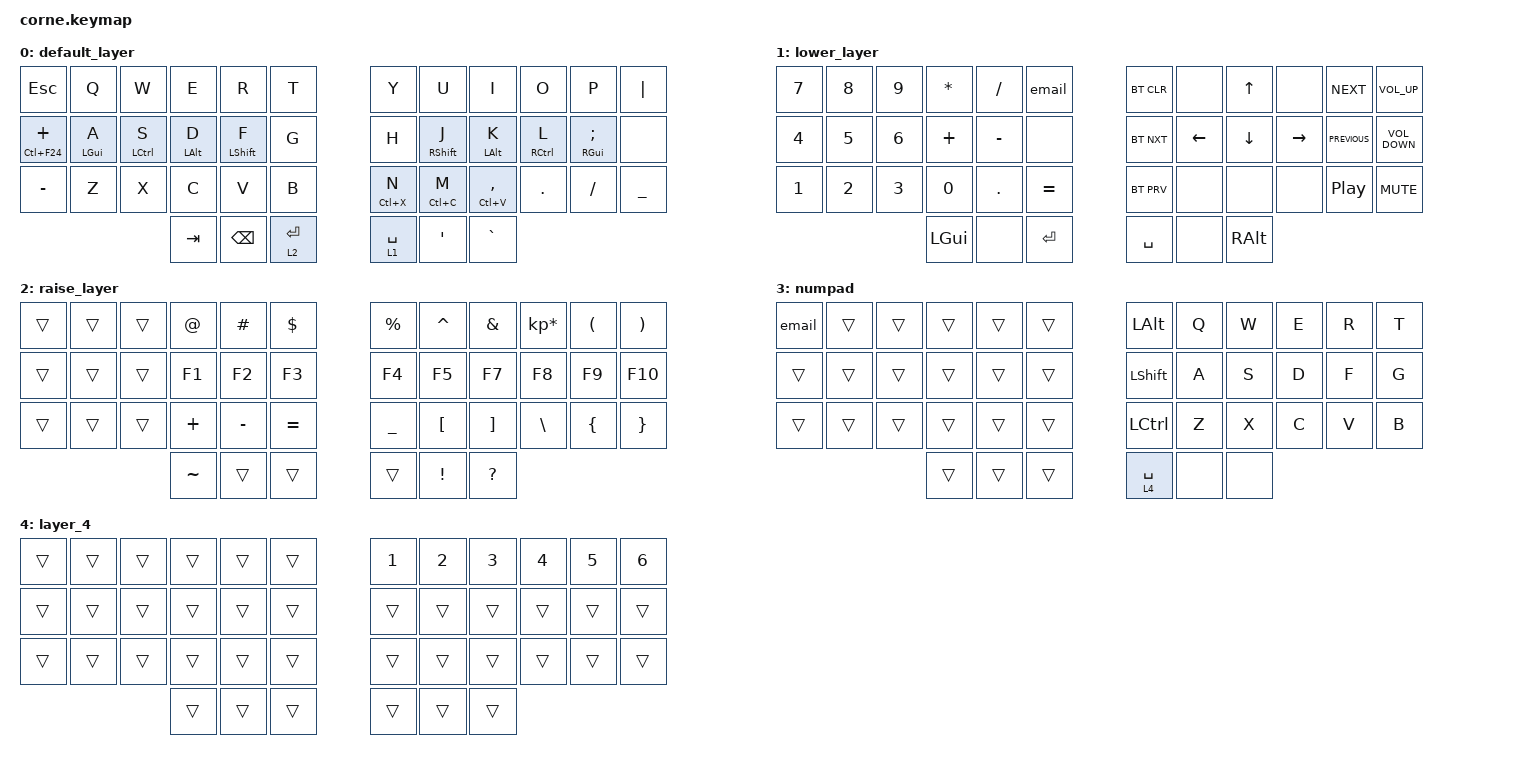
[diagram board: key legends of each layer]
/*
 * Copyright (c) 2020 The ZMK Contributors
 *
 * SPDX-License-Identifier: MIT
 */

#include <behaviors.dtsi>
#include <dt-bindings/zmk/bt.h>
#include <dt-bindings/zmk/keys.h>

/ {
    behaviors {
        bhm: balanced_homerow_mods {
            compatible = "zmk,behavior-hold-tap";
            label = "HOMEROW_MODS";
            #binding-cells = <2>;
            tapping-term-ms = <200>;    // <---[[moderate duration]]
            quick-tap-ms = <0>;
            flavor = "balanced";
            bindings = <&kp>, <&kp>;
        };
    };

    combos {
        compatible = "zmk,combos";

        numpad {
            bindings = <&tog 3>;
            key-positions = <38 39>;
        };

        caps {
            bindings = <&caps_word>;
            key-positions = <16 19>;
        };
    };

    macros {
        email: email {
            compatible = "zmk,behavior-macro";
            #binding-cells = <0>;
            bindings = <&none &kp G &kp A &kp U &kp T &kp H &kp I &kp E &kp R &kp DOT &kp S &kp T &kp R &kp I &kp E &kp B &kp E &kp L &kp AT &kp M &kp E &kp DOT &kp C &kp O &kp M>;
            label = "EMAIL";
        };
    };

    keymap {
        compatible = "zmk,keymap";

        default_layer {
            // -----------------------------------------------------------------------------------------
            // |  TAB |  Q  |  W  |  E  |  R  |  T  |   |  Y  |  U   |  I  |  O  |  P  | BKSP |
            // | CTRL |  A  |  S  |  D  |  F  |  G  |   |  H  |  J   |  K  |  L  |  ;  |  '   |
            // | SHFT |  Z  |  X  |  C  |  V  |  B  |   |  N  |  M   |  ,  |  .  |  /  | ESC  |
            //                    | GUI | LWR | SPC |   | ENT | RSE  | ALT |

            bindings = <
&kp ESCAPE         &kp Q        &kp W         &kp E        &kp R          &kp T          &kp Y         &kp U          &kp I             &kp O         &kp P           &kp PIPE
&bhm LC(F24) PLUS  &bhm LGUI A  &bhm LCTRL S  &bhm LALT D  &bhm LSHIFT F  &kp G          &kp H         &bhm RSHIFT J  &bhm LALT K       &bhm RCTRL L  &bhm RGUI SEMI  &none
&kp MINUS          &kp Z        &kp X         &kp C        &kp V          &kp B          &bhm LC(X) N  &bhm LC(C) M   &bhm LC(V) COMMA  &kp DOT       &kp FSLH        &kp UNDER
                                              &kp TAB      &kp BSPC       &lt 2 ENTER    &lt 1 SPACE   &kp SQT        &kp GRAVE
            >;
        };

        lower_layer {
            // -----------------------------------------------------------------------------------------
            // |  TAB |  1  |  2  |  3  |  4  |  5  |   |  6  |  7  |  8  |  9  |  0  | BKSP |
            // | BTCLR| BT1 | BT2 | BT3 | BT4 | BT5 |   | LFT | DWN |  UP | RGT |     |      |
            // | SHFT |     |     |     |     |     |   |     |     |     |     |     |      |
            //                    | GUI |     | SPC |   | ENT |     | ALT |

            bindings = <
&kp NUMBER_7  &kp NUMBER_8  &kp NUMBER_9  &kp ASTRK     &kp SLASH   &email       &bt BT_CLR  &none           &kp UP_ARROW    &none      &kp C_NEXT        &kp C_VOLUME_UP
&kp NUMBER_4  &kp NUMBER_5  &kp NUMBER_6  &kp PLUS      &kp MINUS   &none        &bt BT_NXT  &kp LEFT_ARROW  &kp DOWN_ARROW  &kp RIGHT  &kp C_PREVIOUS    &kp C_VOLUME_DOWN
&kp NUMBER_1  &kp NUMBER_2  &kp NUMBER_3  &kp NUMBER_0  &kp PERIOD  &kp EQUAL    &bt BT_PRV  &none           &none           &none      &kp C_PLAY_PAUSE  &kp C_MUTE
                                          &kp LGUI      &none       &kp ENTER    &kp SPACE   &none           &kp RALT
            >;
        };

        raise_layer {
            // -----------------------------------------------------------------------------------------
            // |  TAB |  !  |  @  |  #  |  $  |  %  |   |  ^  |  &  |  *  |  (  |  )  | BKSP |
            // | CTRL |     |     |     |     |     |   |  -  |  =  |  [  |  ]  |  \  |  `   |
            // | SHFT |     |     |     |     |     |   |  _  |  +  |  {  |  }  | "|" |  ~   |
            //                    | GUI |     | SPC |   | ENT |     | ALT |

            bindings = <
&trans  &trans  &trans  &kp AT     &kp HASH   &kp DLLR     &kp PRCNT  &kp CARET        &kp AMPS      &kp KP_MULTIPLY  &kp LPAR  &kp RPAR
&trans  &trans  &trans  &kp F1     &kp F2     &kp F3       &kp F4     &kp F5           &kp F7        &kp F8           &kp F9    &kp F10
&trans  &trans  &trans  &kp PLUS   &kp MINUS  &kp EQUAL    &kp UNDER  &kp LBKT         &kp RBKT      &kp BSLH         &kp LBRC  &kp RBRC
                        &kp TILDE  &trans     &trans       &trans     &kp EXCLAMATION  &kp QUESTION
            >;
        };

        numpad {
            bindings = <
&email  &trans  &trans  &trans  &trans  &trans    &kp LEFT_ALT    &kp Q  &kp W  &kp E  &kp R  &kp T
&trans  &trans  &trans  &trans  &trans  &trans    &kp LEFT_SHIFT  &kp A  &kp S  &kp D  &kp F  &kp G
&trans  &trans  &trans  &trans  &trans  &trans    &kp LCTRL       &kp Z  &kp X  &kp C  &kp V  &kp B
                        &trans  &trans  &trans    &lt 4 SPACE     &none  &none
            >;
        };

        layer_4 {
            bindings = <
&trans  &trans  &trans  &trans  &trans  &trans    &kp NUMBER_1  &kp NUMBER_2  &kp NUMBER_3  &kp NUMBER_4  &kp N5  &kp NUMBER_6
&trans  &trans  &trans  &trans  &trans  &trans    &trans        &trans        &trans        &trans        &trans  &trans
&trans  &trans  &trans  &trans  &trans  &trans    &trans        &trans        &trans        &trans        &trans  &trans
                        &trans  &trans  &trans    &trans        &trans        &trans
            >;
        };
    };
};
